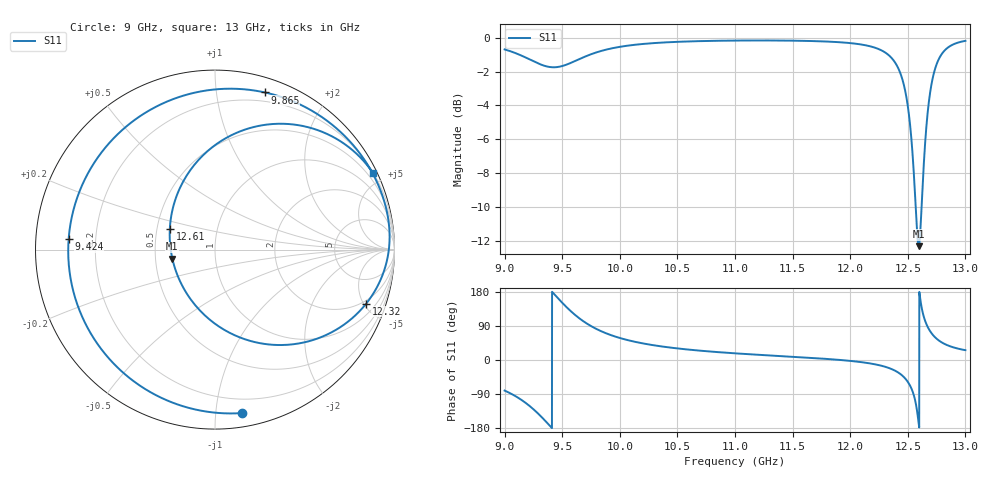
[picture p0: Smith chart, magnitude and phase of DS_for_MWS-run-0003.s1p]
! TOUCHSTONE file generated by CST DESIGN STUDIO
! Date and time: Tue Feb  4 18:00:49 2025
! Project name: C:\Work\MatlabApps\UnitCellOptimizationMatlab\CST\unitcell.cst
! Tree item: Tasks\Sweep1\SPara1\S-Parameters
! Header version: 2024
! Port assignment regex: !\s*Touchstone port\s*([0-9]+)\s*=\s*(CST MWS port|CST DES external port|CST DES block port)\s*(.+)\s* \(\"(.*)\"\)(\s*mode\s*([0-9]+))?.*
! Touchstone port assignment:
! Touchstone port 1 = CST DES external port 1 ("")
# GHz S MA R 50
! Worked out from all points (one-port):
!   4001 points, 9 GHz to 13 GHz, reference 50 ohm
!   lowest |S11| = -12.3 dB at 12.6 GHz (marker M1), VSWR 1.64, Z = 30.7 - j3.26 ohm
!   |S11| at or under -10 dB: 12.56863 GHz to 12.61959 GHz (50.96 MHz wide, 0.405 % of centre)
!   S11 on the Smith chart (normalised r, x): 9 GHz: 0.10, -1.17; 9.424 GHz: 0.10, +0.03; 9.865 GHz: 0.12, +1.36; 12.32 GHz: 1.73, -5.22; 12.61 GHz: 0.58, +0.15; 13 GHz: 0.22, +4.34
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9  0.923 -80.7
9.121  0.8926 -100.3
9.22  0.8615 -122.1
9.334  0.8283 -154.5
9.424  0.8175 176.0
9.5  0.8244 151.1
9.58  0.8438 127.4
9.66  0.8677 107.4
9.75  0.893 89.6
9.865  0.9186 72.5
10  0.9392 58.1
10.215  0.9586 43.0
10.5  0.9716 30.6
11  0.98 17.6
11.5  0.9793 8.5
12  0.9634 -2.3
12.322  0.8947 -19.6
12.424  0.8027 -34.4
12.5  0.6287 -57.7
12.549  0.4154 -89.6
12.595  0.2429 -168.1
12.611  0.2774 155.1
12.634  0.3952 119.6
12.662  0.5502 94.3
12.714  0.7535 67.5
12.766  0.8598 52.3
12.826  0.9209 41.4
13  0.978 25.9
